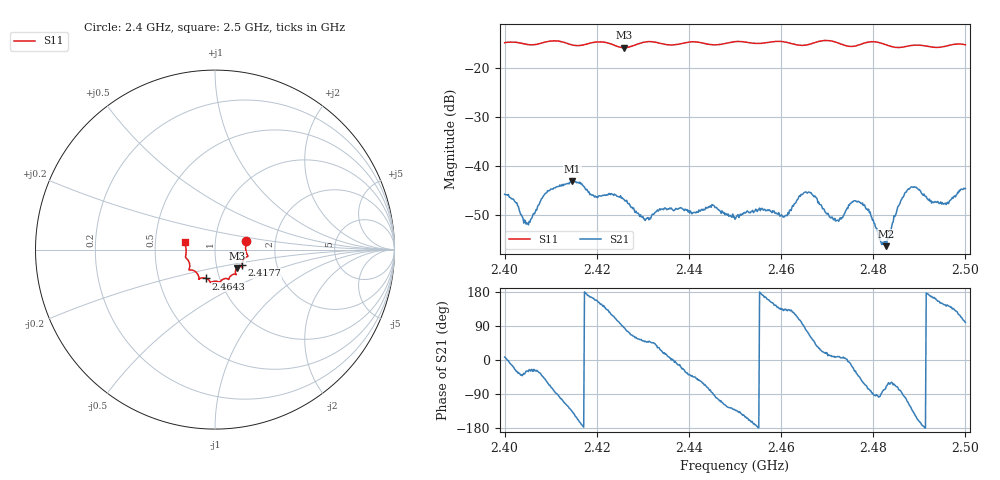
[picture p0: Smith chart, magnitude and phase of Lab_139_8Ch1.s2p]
# Hz S RI R 50
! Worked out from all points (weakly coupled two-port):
!   601 points, 2.4 GHz to 2.5 GHz, reference 50 ohm
!   highest |S21| = -43.08 dB at 2.4147 GHz (marker M1); lowest = -56.3 dB at 2.4828 GHz (marker M2)
!   lowest |S11| = -16.0 dB at 2.426 GHz (marker M3), VSWR 1.38, Z = 62.2 - j13.2 ohm
!   |S11| at or under -10 dB: start of sweep to end of sweep
!   S12 and S22 are empty: the file has one direction only
!   S11 on the Smith chart (normalised r, x): 2.4 GHz: 1.41, +0.14; 2.4177 GHz: 1.33, -0.23; 2.4643 GHz: 0.86, -0.29; 2.5 GHz: 0.71, +0.06
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2.4e9  0.1727 0.0479  0.00513 0.000696  0 0  0 0
2.405e9  0.1709 0.0156  0.0023 -0.00128  0 0  0 0
2.409e9  0.1802 -0.0296  0.00308 -0.00433  0 0  0 0
2.414667e9  0.1624 -0.0511  -0.00504 -0.00488  0 0  0 0
2.416667e9  0.1519 -0.0731  -0.00659 -0.0011  0 0  0 0
2.417667e9  0.1506 -0.0847  -0.00573 0.000439  0 0  0 0
2.426e9  0.121 -0.1037  0.000408 0.00452  0 0  0 0
2.430167e9  0.1168 -0.1385  0.00186 0.00225  0 0  0 0
2.433333e9  0.1141 -0.1376  0.00291 0.0019  0 0  0 0
2.445e9  0.0568 -0.1612  0.000295 -0.00406  0 0  0 0
2.45e9  0.0275 -0.1818  -0.00192 -0.00215  0 0  0 0
2.460833e9  -0.0273 -0.1801  -0.0021 0.00231  0 0  0 0
2.464333e9  -0.0493 -0.161  -0.00102 0.00506  0 0  0 0
2.466667e9  -0.076 -0.1583  0.00283 0.00436  0 0  0 0
2.472e9  -0.0891 -0.1573  0.00276 0.000386  0 0  0 0
2.477167e9  -0.1282 -0.1142  0.00289 -0.00315  0 0  0 0
2.482833e9  -0.1406 -0.096  0.000549 -0.00144  0 0  0 0
2.483333e9  -0.1405 -0.0906  0.000923 -0.00159  0 0  0 0
2.485667e9  -0.1468 -0.0643  0.000747 -0.00399  0 0  0 0
2.487833e9  -0.1595 -0.0488  -0.00284 -0.00511  0 0  0 0
2.495333e9  -0.1631 0.0139  -0.00341 0.00231  0 0  0 0
2.5e9  -0.1649 0.0441  -0.000967 0.00583  0 0  0 0
